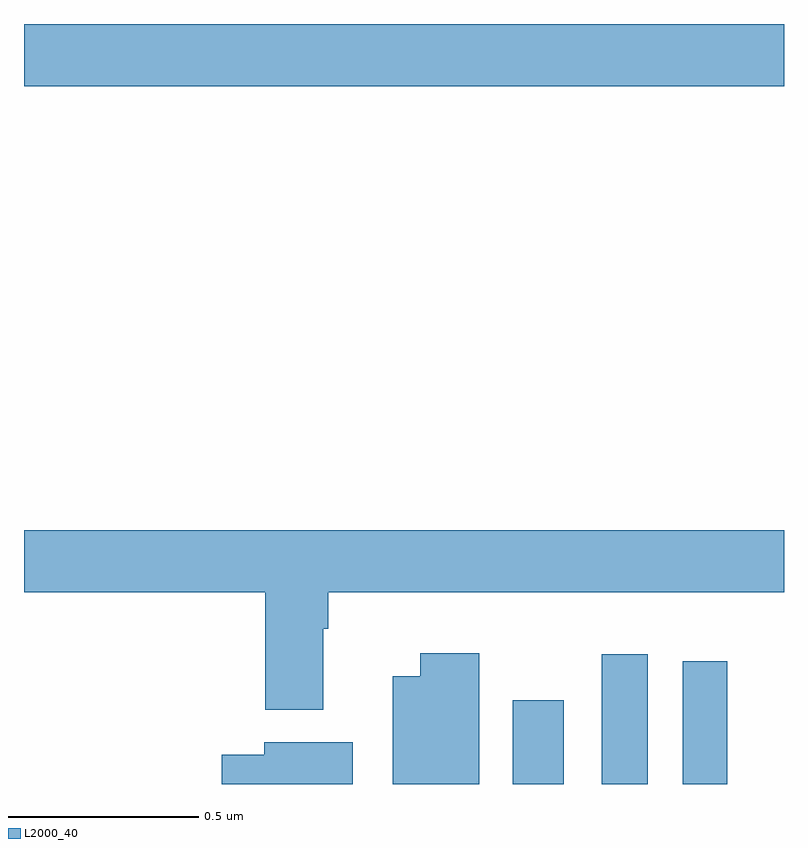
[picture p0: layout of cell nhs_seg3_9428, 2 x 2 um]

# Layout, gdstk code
import gdstk
lib = gdstk.Library(unit=1e-6, precision=1e-09)
def R(c, l, rs):  # rectangles x0, y0, x1, y1
    for r in rs: c.add(gdstk.rectangle(r[:2], r[2:], *l))
def P(c, l, *ps):  # polygons
    for p in ps: c.add(gdstk.Polygon(p, *l))
L2000_40 = (2000, 40)

nhs_seg3_9428 = lib.new_cell('nhs_seg3_9428')
R(nhs_seg3_9428, L2000_40, [(229.286,712.4,229.42,712.621), (229.52,712.4,229.642,712.741), (229.734,712.4,229.85,712.723), (228,714.236,230,714.4)])
P(nhs_seg3_9428, L2000_40, [(228.787,712.808),(228.8,712.808),(228.8,712.904),(230,712.904),(230,713.068),(228,713.068),(228,712.904),(228.635,712.904),(228.635,712.595),(228.787,712.595)],
  [(229.198,712.744),(229.043,712.744),(229.043,712.684),(228.971,712.684),(228.971,712.4),(229.198,712.4)],
  [(228.865,712.51),(228.632,712.51),(228.632,712.477),(228.521,712.477),(228.521,712.4),(228.865,712.4)])

lib.write_gds('nhs_seg3_9428.gds')
